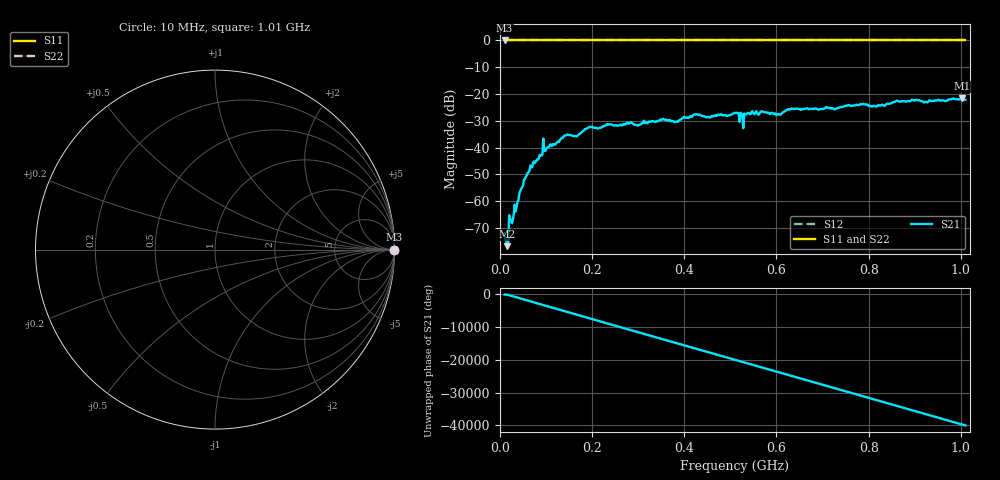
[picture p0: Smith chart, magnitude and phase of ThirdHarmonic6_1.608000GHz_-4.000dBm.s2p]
! 8/16/2025 7:10:48 PM
! C:\ANRITSUVNA\TEMP\TEMP.S2P
! CHANNEL.1
! TR.MEASUREMENT
! RAW.DATA
! RF.CORRECTION.OFF
! AVERAGING.OFF
! IF.BANDWIDTH: 5KHZ
! SWEEPTYPE:  FREQ.SWEEP(Linear)
! Reference Plane Port Info
! PORT:  PORT1  PORT2
! DISTANCE:  0  m  0  m
! TIME:  0  s  0  s
! PHASE.OFFSET:  0  deg.  0  deg.
! LOSS:  0  dB  0  dB
! REF.LOSS:  0  dB  0  dB
! REF.FREQ:  0  Hz  0  Hz
! Power Info
! POWER:  -20  dBm  -20  dBm
! EFF.POWER:  -20  dBm  -20  dBm
! SOURCE.ATTEN:  0  dB  0  dB
! TEST.ATTEN:  0  dB  0  dB
# GHZ S RI R 50.0
! FREQ.GHZ  S11RE  S11IM  S21RE  S21IM  S12RE  S12IM  S22RE  S22IM
!; PortSelection: Port_12
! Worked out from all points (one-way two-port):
!   501 points, 10 MHz to 1.01 GHz, reference 50 ohm
!   highest |S21| = -21.57 dB at 1.002 GHz (marker M1); lowest = -76.8 dB at 16 MHz (marker M2)
!   lowest |S11| = 0.0 dB at 10 MHz (marker M3)
!   |S11| at or under -10 dB: nowhere
!   |S22| runs from 0.0 to 0.0 dB; largest |S21 - S12| = 1.1
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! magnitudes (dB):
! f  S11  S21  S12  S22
! 10 MHz  0.0  -71.9  0.0  0.0
! 14 MHz  0.0  -74.9  0.0  0.0
! 16 MHz  0.0  -76.8  0.0  0.0
! 24 MHz  0.0  -67.3  0.0  0.0
! 30 MHz  0.0  -64.7  0.0  0.0
! 48 MHz  0.0  -54.8  0.0  0.0
! 70 MHz  0.0  -47.3  0.0  0.0
! 98 MHz  0.0  -41.3  0.0  0.0
! 142 MHz  0.0  -35.5  0.0  0.0
! 178 MHz  0.0  -34.2  0.0  0.0
! 234 MHz  0.0  -31.5  0.0  0.0
! 344 MHz  0.0  -30.1  0.0  0.0
! 382 MHz  0.0  -30.3  0.0  0.0
! 510 MHz  0.0  -27.1  0.0  0.0
! 524 MHz  0.0  -27.3  0.0  0.0
! 544 MHz  0.0  -27.5  0.0  0.0
! 604 MHz  0.0  -27.5  0.0  0.0
! 628 MHz  0.0  -25.9  0.0  0.0
! 678 MHz  0.0  -25.6  0.0  0.0
! 844 MHz  0.0  -23.7  0.0  0.0
! 1.002 GHz  0.0  -21.6  0.0  0.0
! 1.01 GHz  0.0  -22.1  0.0  0.0
